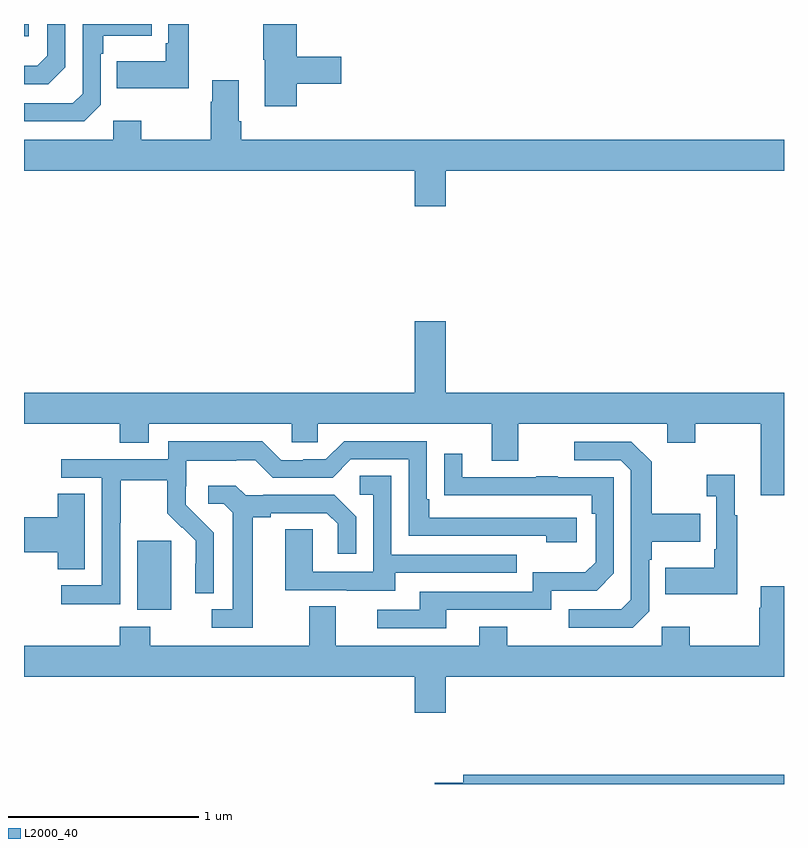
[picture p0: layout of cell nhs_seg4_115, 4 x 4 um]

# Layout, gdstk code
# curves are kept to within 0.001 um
import gdstk
lib = gdstk.Library(unit=1e-6, precision=1e-09)
def R(c, l, rs):  # rectangles x0, y0, x1, y1
    for r in rs: c.add(gdstk.rectangle(r[:2], r[2:], *l))
def P(c, l, *ps):  # polygons
    for p in ps: c.add(gdstk.Polygon(p, *l))
L2000_40 = (2000, 40)

nhs_seg4_115 = lib.new_cell('nhs_seg4_115')
R(nhs_seg4_115, L2000_40, [(115.595,819.818,115.774,820.179), (115,822.836,115.024,822.9)])
P(nhs_seg4_115, L2000_40, [(115.218,822.672),(115.218,822.9),(115.122,822.9),(115.122,822.732),(115.069,822.679),(115,822.679),(115,822.582),(115.128,822.582)],
  [(115.404,822.474),(115.404,822.743),(115.417,822.743),(115.417,822.839),(115.673,822.839),(115.673,822.9),(115.308,822.9),(115.308,822.534),(115.257,822.483),(115,822.483),(115,822.387),(115.317,822.387)],
  [(116.435,822.586),(116.671,822.586),(116.671,822.728),(116.435,822.728),(116.435,822.9),(116.26,822.9),(116.26,822.711),(116.267,822.711),(116.267,822.468),(116.435,822.468)],
  [(115.867,822.9),(115.758,822.9),(115.758,822.799),(115.746,822.799),(115.746,822.703),(115.489,822.703),(115.489,822.563),(115.867,822.563)],
  [(117.22,822.128),(119,822.128),(119,822.292),(116.144,822.292),(116.144,822.388),(116.131,822.388),(116.131,822.604),(115.991,822.604),(115.991,822.491),(115.984,822.491),(115.984,822.292),(115.617,822.292),(115.617,822.391),(115.47,822.391),(115.47,822.292),(115,822.292),(115,822.128),(117.056,822.128),(117.056,821.94),(117.22,821.94)],
  [(119,820.96),(117.22,820.96),(117.22,821.335),(117.056,821.335),(117.056,820.96),(115,820.96),(115,820.796),(115.505,820.796),(115.505,820.697),(115.657,820.697),(115.657,820.796),(116.409,820.796),(116.409,820.698),(116.547,820.698),(116.547,820.796),(117.461,820.796),(117.461,820.602),(117.601,820.602),(117.601,820.796),(118.385,820.796),(118.385,820.697),(118.533,820.697),(118.533,820.796),(118.877,820.796),(118.877,820.419),(119,820.419)],
  [(115.506,820.276),(115.509,820.276),(115.509,820.5),(115.753,820.5),(115.753,820.325),(115.83,820.248),(115.833,820.251),(115.904,820.181),(115.904,820.058),(115.902,820.058),(115.902,819.904),(115.998,819.904),(115.998,820.222),(115.852,820.37),(115.852,820.467),(115.854,820.467),(115.854,820.601),(116.117,820.601),(116.117,820.605),(116.217,820.605),(116.31,820.512),(116.625,820.512),(116.721,820.608),(117.024,820.608),(117.024,820.206),(117.749,820.206),(117.749,820.172),(117.91,820.172),(117.91,820.302),(117.133,820.302),(117.133,820.399),(117.12,820.399),(117.12,820.704),(116.685,820.704),(116.589,820.608),(116.471,820.608),(116.471,820.605),(116.355,820.605),(116.255,820.705),(115.758,820.705),(115.758,820.608),(115.197,820.608),(115.197,820.512),(115.41,820.512),(115.41,819.945),(115.197,819.945),(115.197,819.847),(115.506,819.847)],
  [(118.29,819.81),(118.29,820.079),(118.303,820.079),(118.303,820.175),(118.559,820.175),(118.559,820.323),(118.303,820.323),(118.303,820.595),(118.197,820.701),(117.897,820.701),(117.897,820.605),(118.14,820.605),(118.194,820.551),(118.194,819.87),(118.143,819.819),(117.867,819.819),(117.867,819.723),(118.203,819.723)],
  [(117.223,819.816),(117.774,819.816),(117.774,819.918),(118.014,819.918),(118.104,820.008),(118.104,820.515),(117.809,820.515),(117.809,820.52),(117.697,820.52),(117.697,820.515),(117.307,820.515),(117.307,820.639),(117.211,820.639),(117.211,820.42),(117.988,820.419),(117.988,820.322),(118.008,820.322),(118.008,820.068),(117.955,820.015),(117.678,820.015),(117.678,819.912),(117.083,819.912),(117.083,819.816),(116.859,819.816),(116.859,819.72),(117.223,819.72)],
  [(118.753,820.315),(118.741,820.315),(118.741,820.528),(118.593,820.528),(118.593,820.415),(118.644,820.415),(118.644,820.135),(118.632,820.135),(118.632,820.039),(118.375,820.039),(118.375,819.899),(118.753,819.899)],
  [(116.953,820.011),(117.593,820.011),(117.593,820.107),(116.934,820.107),(116.934,820.523),(116.766,820.523),(116.766,820.422),(116.838,820.422),(116.838,820.017),(116.52,820.017),(116.52,820.241),(116.375,820.241),(116.375,819.921),(116.699,819.921),(116.699,819.917),(116.953,819.917)],
  [(116.203,820.304),(116.299,820.304),(116.299,820.326),(116.594,820.326),(116.651,820.269),(116.651,820.113),(116.748,820.113),(116.748,820.306),(116.632,820.422),(116.26,820.422),(116.26,820.419),(116.166,820.419),(116.114,820.471),(115.971,820.471),(115.971,820.374),(116.052,820.374),(116.099,820.327),(116.099,819.819),(115.989,819.819),(115.989,819.723),(116.203,819.723)],
  [(115.321,820.427),(115.178,820.427),(115.178,820.304),(115,820.304),(115,820.121),(115.178,820.121),(115.178,820.03),(115.321,820.03)],
  [(117.22,819.464),(119,819.464),(119,819.94),(118.877,819.94),(118.877,819.827),(118.87,819.827),(118.87,819.628),(118.503,819.628),(118.503,819.727),(118.356,819.727),(118.356,819.628),(117.543,819.628),(117.543,819.727),(117.395,819.727),(117.395,819.628),(116.641,819.628),(116.641,819.836),(116.501,819.836),(116.501,819.628),(115.665,819.628),(115.665,819.727),(115.505,819.727),(115.505,819.628),(115,819.628),(115,819.464),(117.056,819.464),(117.056,819.276),(117.22,819.276)],
  [(119,818.948),(117.311,818.948),(117.311,818.907),(117.162,818.907),(117.162,818.9),(119,818.9)])

lib.write_gds('nhs_seg4_115.gds')
